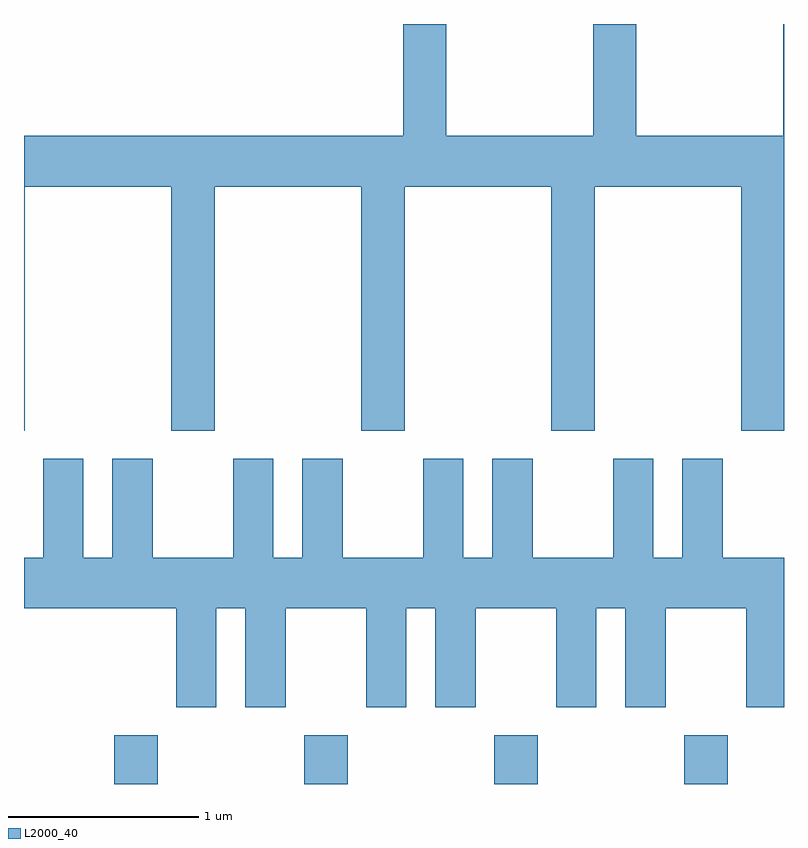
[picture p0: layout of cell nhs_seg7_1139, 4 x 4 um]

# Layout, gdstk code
import gdstk
lib = gdstk.Library(unit=1e-6, precision=1e-09)
def R(c, l, rs):  # rectangles x0, y0, x1, y1
    for r in rs: c.add(gdstk.rectangle(r[:2], r[2:], *l))
def A(c, l, x, y, w, h, nx, ny, dx, dy):  # array of equal rectangles
    R(c, l, [(x+i*dx, y+j*dy, x+i*dx+w, y+j*dy+h) for i in range(nx) for j in range(ny)])
def P(c, l, *ps):  # polygons
    for p in ps: c.add(gdstk.Polygon(p, *l))
L2000_40 = (2000, 40)

nhs_seg7_1139 = lib.new_cell('nhs_seg7_1139')
A(nhs_seg7_1139, L2000_40, 220.086, 1742.252, 0.228, 0.257, 4, 1, 1, 0)
P(nhs_seg7_1139, L2000_40, [(219.614,1745.396),(220.386,1745.396),(220.386,1744.111),(220.614,1744.111),(220.614,1745.396),(221.386,1745.396),(221.386,1744.111),(221.614,1744.111),(221.614,1745.396),(222.386,1745.396),(222.386,1744.111),(222.614,1744.111),(222.614,1745.396),(223.386,1745.396),(223.386,1744.111),(223.611,1744.111),(223.611,1746.252),(223.606,1746.252),(223.606,1745.664),(222.834,1745.664),(222.834,1746.252),(222.606,1746.252),(222.606,1745.664),(221.834,1745.664),(221.834,1746.252),(221.606,1746.252),(221.606,1745.664),(219.611,1745.664),(219.611,1744.111),(219.614,1744.111)],
  [(220.624,1743.176),(220.776,1743.176),(220.776,1742.656),(220.989,1742.656),(220.989,1743.176),(221.411,1743.176),(221.411,1742.656),(221.624,1742.656),(221.624,1743.176),(221.776,1743.176),(221.776,1742.656),(221.989,1742.656),(221.989,1743.176),(222.411,1743.176),(222.411,1742.656),(222.624,1742.656),(222.624,1743.176),(222.776,1743.176),(222.776,1742.656),(222.989,1742.656),(222.989,1743.176),(223.411,1743.176),(223.411,1742.656),(223.611,1742.656),(223.611,1743.444),(223.289,1743.444),(223.289,1743.964),(223.076,1743.964),(223.076,1743.444),(222.924,1743.444),(222.924,1743.964),(222.711,1743.964),(222.711,1743.444),(222.289,1743.444),(222.289,1743.964),(222.076,1743.964),(222.076,1743.444),(221.924,1743.444),(221.924,1743.964),(221.711,1743.964),(221.711,1743.444),(221.289,1743.444),(221.289,1743.964),(221.076,1743.964),(221.076,1743.444),(220.924,1743.444),(220.924,1743.964),(220.711,1743.964),(220.711,1743.444),(220.289,1743.444),(220.289,1743.964),(220.076,1743.964),(220.076,1743.444),(219.924,1743.444),(219.924,1743.964),(219.711,1743.964),(219.711,1743.444),(219.611,1743.444),(219.611,1743.176),(220.411,1743.176),(220.411,1742.656),(220.624,1742.656)])

lib.write_gds('nhs_seg7_1139.gds')
